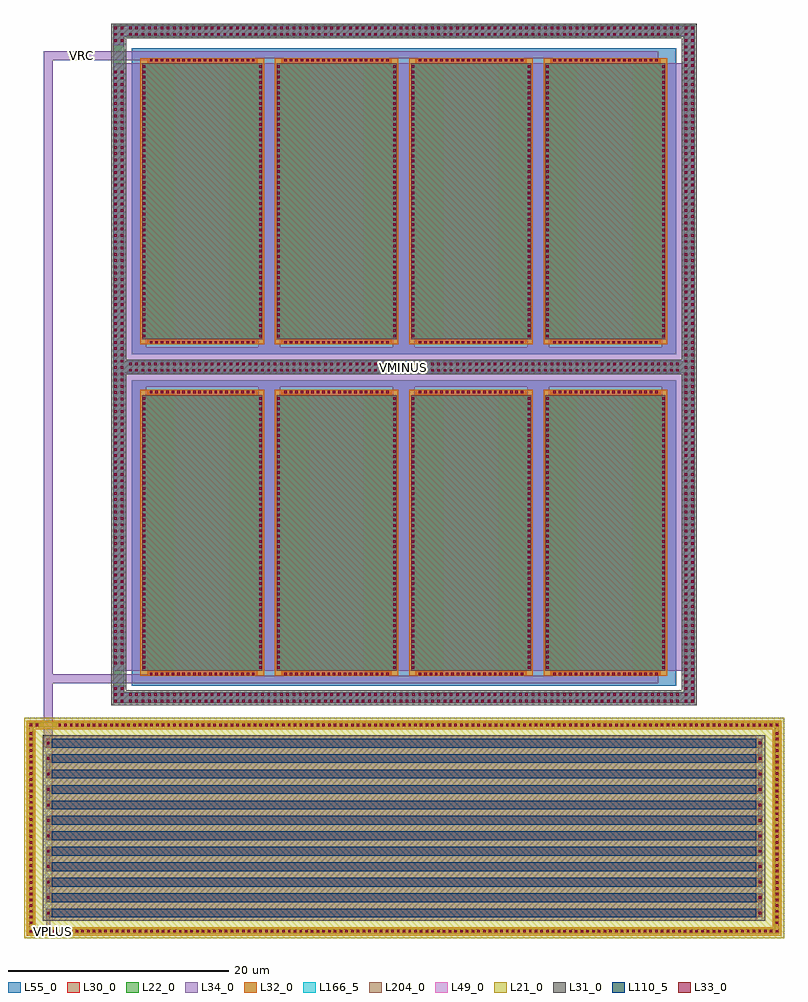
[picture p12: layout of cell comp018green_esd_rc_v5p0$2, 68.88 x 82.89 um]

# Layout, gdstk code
from math import pi, radians
import gdstk
lib = gdstk.Library(unit=1e-6, precision=1e-09)
def R(c, l, rs):  # rectangles x0, y0, x1, y1
    for r in rs: c.add(gdstk.rectangle(r[:2], r[2:], *l))
def A(c, l, x, y, w, h, nx, ny, dx, dy):  # array of equal rectangles
    R(c, l, [(x+i*dx, y+j*dy, x+i*dx+w, y+j*dy+h) for i in range(nx) for j in range(ny)])
def P(c, l, *ps):  # polygons
    for p in ps: c.add(gdstk.Polygon(p, *l))
L21_0 = (21, 0)
L22_0 = (22, 0)
L30_0 = (30, 0)
L31_0 = (31, 0)
L32_0 = (32, 0)
L33_0 = (33, 0)
L34_0 = (34, 0)
L49_0 = (49, 0)
L55_0 = (55, 0)
L110_5 = (110, 5)
L166_5 = (166, 5)
L204_0 = (204, 0)

m1_psub_cdns_40661953145 = lib.new_cell('M1_PSUB_CDNS_40661953145126$1')
R(m1_psub_cdns_40661953145, L22_0, [(-0.51,-30.72,0.51,30.72)])
R(m1_psub_cdns_40661953145, L31_0, [(-0.67,-30.88,0.67,30.88)])
A(m1_psub_cdns_40661953145, L33_0, -0.395, -30.605, 0.22, 0.22, 1, 108, 0, 0.57)
A(m1_psub_cdns_40661953145, L33_0, 0.175, -30.605, 0.22, 0.22, 1, 108, 0, 0.57)
R(m1_psub_cdns_40661953145, L34_0, [(-0.455,-30.665,0.455,30.665)])

m1_nwell_cdns_4066195314 = lib.new_cell('M1_NWELL_CDNS_40661953145127$2')
R(m1_nwell_cdns_4066195314, L21_0, [(-0.64,-34.44,0.64,34.44)])
R(m1_nwell_cdns_4066195314, L22_0, [(-0.225,-34.025,0.225,34.025)])
R(m1_nwell_cdns_4066195314, L32_0, [(-0.385,-34.185,0.385,34.185)])
A(m1_nwell_cdns_4066195314, L33_0, -0.11, -33.91, 0.22, 0.22, 1, 131, 0, 0.52)
R(m1_nwell_cdns_4066195314, L34_0, [(-0.17,-33.97,0.17,33.97)])

c_m1_nwell_cdns_4066195314 = lib.new_cell('M1_NWELL_CDNS_40661953145128$2')
R(c_m1_nwell_cdns_4066195314, L21_0, [(-0.64,-9.22,0.64,9.22)])
R(c_m1_nwell_cdns_4066195314, L22_0, [(-0.225,-8.805,0.225,8.805)])
R(c_m1_nwell_cdns_4066195314, L32_0, [(-0.385,-8.965,0.385,8.965)])
A(c_m1_nwell_cdns_4066195314, L33_0, -0.11, -8.69, 0.22, 0.22, 1, 34, 0, 0.52)
R(c_m1_nwell_cdns_4066195314, L34_0, [(-0.17,-8.75,0.17,8.75)])

c_m1_psub_cdns_40661953145 = lib.new_cell('M1_PSUB_CDNS_40661953145129$1')
R(c_m1_psub_cdns_40661953145, L22_0, [(-0.51,-25.02,0.51,25.02)])
R(c_m1_psub_cdns_40661953145, L31_0, [(-0.67,-25.18,0.67,25.18)])
A(c_m1_psub_cdns_40661953145, L33_0, -0.395, -24.905, 0.22, 0.22, 1, 88, 0, 0.57)
A(c_m1_psub_cdns_40661953145, L33_0, 0.175, -24.905, 0.22, 0.22, 1, 88, 0, 0.57)
R(c_m1_psub_cdns_40661953145, L34_0, [(-0.455,-24.965,0.455,24.965)])

ppolyf_u_cdns_4066195314 = lib.new_cell('ppolyf_u_CDNS_406619531453$2')
R(ppolyf_u_cdns_4066195314, L30_0, [(0,0,64.875,0.8)])
R(ppolyf_u_cdns_4066195314, L31_0, [(-0.3,-0.3,65.175,1.1)])
R(ppolyf_u_cdns_4066195314, L33_0, [(0.07,0.29,0.29,0.51), (64.585,0.29,64.805,0.51)])
R(ppolyf_u_cdns_4066195314, L34_0, [(0.01,0.01,0.35,0.79), (0.01,0.01,0.35,0.79), (64.525,0.01,64.865,0.79), (64.525,0.01,64.865,0.79)])
R(ppolyf_u_cdns_4066195314, L49_0, [(0.51,-0.28,64.365,1.08)])
R(ppolyf_u_cdns_4066195314, L110_5, [(0.51,0,64.365,0.8)])
ppolyf_u_cdns_4066195314.add(gdstk.Label('PLUS', (0.18,0.4), layer=34, texttype=0))
ppolyf_u_cdns_4066195314.add(gdstk.Label('MINUS', (64.695,0.4), layer=34, texttype=0))

nmoscap_6p0_cdns_4066195 = lib.new_cell('nmoscap_6p0_CDNS_406619531454$2')
R(nmoscap_6p0_cdns_4066195, L22_0, [(-0.44,0,10.44,25)])
R(nmoscap_6p0_cdns_4066195, L30_0, [(0,-0.46,10,25.46)])
R(nmoscap_6p0_cdns_4066195, L32_0, [(-0.6,-0.46,10.6,25.46)])
A(nmoscap_6p0_cdns_4066195, L33_0, 0.27, -0.39, 0.22, 0.22, 6, 2, 0.49, 25.56)
A(nmoscap_6p0_cdns_4066195, L33_0, 3.205, -0.39, 0.22, 0.22, 14, 2, 0.485, 25.56)
A(nmoscap_6p0_cdns_4066195, L33_0, -0.37, 0.19, 0.22, 0.22, 1, 36, 0, 0.48)
A(nmoscap_6p0_cdns_4066195, L33_0, 10.15, 0.19, 0.22, 0.22, 1, 36, 0, 0.48)
A(nmoscap_6p0_cdns_4066195, L33_0, -0.37, 17.465, 0.22, 0.22, 1, 16, 0, 0.475)
A(nmoscap_6p0_cdns_4066195, L33_0, 10.15, 17.465, 0.22, 0.22, 1, 16, 0, 0.475)
R(nmoscap_6p0_cdns_4066195, L34_0, [(-1.09,-1.75,-0.09,25), (-1.09,-1.75,11.09,-0.75), (10.09,-1.75,11.09,25), (0.21,-0.45,9.79,-0.11), (2.5,-0.17,7.5,25.17), (-0.43,0,-0.09,25), (10.09,0,10.43,25), (0.21,25.11,9.79,25.45)])
R(nmoscap_6p0_cdns_4066195, L55_0, [(-1.4,-1.36,11.4,26.36)])
R(nmoscap_6p0_cdns_4066195, L166_5, [(-0.44,0,10.44,25)])
R(nmoscap_6p0_cdns_4066195, L204_0, [(-0.44,0,10.44,25)])
nmoscap_6p0_cdns_4066195.add(gdstk.Label('G', (5,-0.28), layer=34, texttype=0))
nmoscap_6p0_cdns_4066195.add(gdstk.Label('G', (5,25.28), layer=34, texttype=0))
nmoscap_6p0_cdns_4066195.add(gdstk.Label('D', (-0.59,11.625), layer=34, texttype=0))
nmoscap_6p0_cdns_4066195.add(gdstk.Label('D', (10.59,11.625), layer=34, texttype=0))
nmoscap_6p0_cdns_4066195.add(gdstk.Label('D', (5,-1.25), layer=34, texttype=0))

comp018green_esd_rc_v5p0 = lib.new_cell('comp018green_esd_rc_v5p0$2')
R(comp018green_esd_rc_v5p0, L21_0, [(-0.255,2.455,68.625,22.435), (-0.255,21.155,68.625,22.435)])
R(comp018green_esd_rc_v5p0, L22_0, [(0.16,3.32,0.61,21.57), (67.76,3.32,68.21,21.57), (0.16,21.57,68.21,22.02), (7.825,23.75,8.845,85.19), (8.845,23.75,59.78,24.77), (8.845,53.715,9.165,54.735), (59.205,53.715,59.525,54.735), (8.845,84.17,59.78,85.19)])
R(comp018green_esd_rc_v5p0, L31_0, [(7.665,23.59,9.005,85.35)])
R(comp018green_esd_rc_v5p0, L32_0, [(0,21.41,68.37,22.18)])
A(comp018green_esd_rc_v5p0, L33_0, 2.875, 21.685, 0.22, 0.22, 126, 1, 0.52, 0)
A(comp018green_esd_rc_v5p0, L33_0, 7.94, 23.865, 0.22, 0.22, 1, 3, 0, 0.57)
A(comp018green_esd_rc_v5p0, L33_0, 8.51, 23.865, 0.22, 0.22, 1, 3, 0, 0.57)
A(comp018green_esd_rc_v5p0, L33_0, 7.94, 27.285, 0.22, 0.22, 1, 95, 0, 0.57)
A(comp018green_esd_rc_v5p0, L33_0, 8.51, 27.285, 0.22, 0.22, 1, 95, 0, 0.57)
A(comp018green_esd_rc_v5p0, L33_0, 7.94, 83.715, 0.22, 0.22, 1, 3, 0, 0.57)
A(comp018green_esd_rc_v5p0, L33_0, 8.51, 83.715, 0.22, 0.22, 1, 3, 0, 0.57)
R(comp018green_esd_rc_v5p0, L33_0, [(0.275,21.685,0.495,21.905), (0.795,21.685,1.015,21.905)])
A(comp018green_esd_rc_v5p0, L34_0, 66.29, 13.525, 0.34, 0.675, 1, 3, 0, 2.79)
R(comp018green_esd_rc_v5p0, L34_0, [(0.215,2.905,68.155,3.285), (1.775,2.925,2.115,5.135), (0.215,3.265,0.555,21.655), (67.815,3.265,68.155,21.655), (66.29,5.135,66.63,5.81), (1.775,6.535,2.115,7.275), (66.29,7.905,66.63,8.58), (1.775,9.28,2.115,10.02), (66.29,10.705,66.63,11.38), (1.775,12.075,2.115,12.815), (1.775,14.875,2.115,15.615), (1.775,17.67,2.115,18.41), (1.53,19.755,2.33,82.865), (2.7,21.605,68.155,21.985), (0.215,21.625,1.165,21.965), (7.88,23.8,60.49,24.72), (7.88,23.805,8.79,25.335), (1.775,25.585,11.11,26.395), (7.88,26.695,8.79,81.755), (8.79,26.695,9.81,81.755), (58.53,26.695,59.58,81.755), (9.81,52.445,58.53,56.005), (1.775,82.055,11.11,82.865), (7.88,83.405,8.79,85.135), (7.88,84.22,60.49,85.14)])
P(comp018green_esd_rc_v5p0, L34_0, [(11.11,81.865),(11.11,82.865),(57.23,82.865),(57.23,81.865),(47.65,81.865),(47.65,82.205),(45.05,82.205),(45.05,81.865),(35.47,81.865),(35.47,82.205),(32.87,82.205),(32.87,81.865),(23.29,81.865),(23.29,82.205),(20.69,82.205),(20.69,81.865)],
  [(11.11,25.585),(11.11,26.585),(20.69,26.585),(20.69,26.245),(23.29,26.245),(23.29,26.585),(32.87,26.585),(32.87,26.245),(35.47,26.245),(35.47,26.585),(45.05,26.585),(45.05,26.245),(47.65,26.245),(47.65,26.585),(57.23,26.585),(57.23,25.585)])
R(comp018green_esd_rc_v5p0, L49_0, [(2.275,5.425,66.13,20.825)])
comp018green_esd_rc_v5p0.add(gdstk.Reference(m1_psub_cdns_40661953145, (60.035,54.47)))
comp018green_esd_rc_v5p0.add(gdstk.Reference(m1_nwell_cdns_4066195314, (34.185,3.095), rotation=3*pi/2, x_reflection=True))
comp018green_esd_rc_v5p0.add(gdstk.Reference(c_m1_nwell_cdns_4066195314, (67.985,12.445), x_reflection=True))
comp018green_esd_rc_v5p0.add(gdstk.Reference(c_m1_nwell_cdns_4066195314, (0.385,12.445), x_reflection=True))
comp018green_esd_rc_v5p0.add(gdstk.Reference(c_m1_psub_cdns_40661953145, (34.185,84.68), rotation=pi/2))
comp018green_esd_rc_v5p0.add(gdstk.Reference(c_m1_psub_cdns_40661953145, (34.185,24.26), rotation=pi/2))
comp018green_esd_rc_v5p0.add(gdstk.Reference(c_m1_psub_cdns_40661953145, (34.185,54.225), rotation=pi/2))
comp018green_esd_rc_v5p0.add(gdstk.Reference(ppolyf_u_cdns_4066195314, (1.765,7.145)))
comp018green_esd_rc_v5p0.add(gdstk.Reference(ppolyf_u_cdns_4066195314, (1.765,15.545)))
comp018green_esd_rc_v5p0.add(gdstk.Reference(ppolyf_u_cdns_4066195314, (1.765,9.945)))
comp018green_esd_rc_v5p0.add(gdstk.Reference(ppolyf_u_cdns_4066195314, (1.765,18.345)))
comp018green_esd_rc_v5p0.add(gdstk.Reference(ppolyf_u_cdns_4066195314, (1.765,12.745)))
comp018green_esd_rc_v5p0.add(gdstk.Reference(ppolyf_u_cdns_4066195314, (1.765,5.145), x_reflection=True))
comp018green_esd_rc_v5p0.add(gdstk.Reference(ppolyf_u_cdns_4066195314, (66.64,11.345), rotation=pi, x_reflection=True))
comp018green_esd_rc_v5p0.add(gdstk.Reference(ppolyf_u_cdns_4066195314, (66.64,8.545), rotation=pi, x_reflection=True))
comp018green_esd_rc_v5p0.add(gdstk.Reference(ppolyf_u_cdns_4066195314, (66.64,14.145), rotation=pi, x_reflection=True))
comp018green_esd_rc_v5p0.add(gdstk.Reference(ppolyf_u_cdns_4066195314, (66.64,5.745), rotation=pi, x_reflection=True))
comp018green_esd_rc_v5p0.add(gdstk.Reference(ppolyf_u_cdns_4066195314, (66.64,16.945), rotation=pi, x_reflection=True))
comp018green_esd_rc_v5p0.add(gdstk.Reference(ppolyf_u_cdns_4066195314, (66.64,19.745), rotation=pi, x_reflection=True))
comp018green_esd_rc_v5p0.add(gdstk.Reference(nmoscap_6p0_cdns_4066195, (23.08,56.755)))
comp018green_esd_rc_v5p0.add(gdstk.Reference(nmoscap_6p0_cdns_4066195, (10.9,56.755)))
comp018green_esd_rc_v5p0.add(gdstk.Reference(nmoscap_6p0_cdns_4066195, (47.44,56.755)))
comp018green_esd_rc_v5p0.add(gdstk.Reference(nmoscap_6p0_cdns_4066195, (35.26,56.755)))
comp018green_esd_rc_v5p0.add(gdstk.Reference(nmoscap_6p0_cdns_4066195, (10.9,51.695), x_reflection=True))
comp018green_esd_rc_v5p0.add(gdstk.Reference(nmoscap_6p0_cdns_4066195, (23.08,51.695), x_reflection=True))
comp018green_esd_rc_v5p0.add(gdstk.Reference(nmoscap_6p0_cdns_4066195, (35.26,51.695), x_reflection=True))
comp018green_esd_rc_v5p0.add(gdstk.Reference(nmoscap_6p0_cdns_4066195, (47.44,51.695), x_reflection=True))
comp018green_esd_rc_v5p0.add(gdstk.Label('VRC', (4.92,82.465), layer=34, texttype=10))
comp018green_esd_rc_v5p0.add(gdstk.Label('VPLUS', (2.375,3.095), layer=34, texttype=10))
comp018green_esd_rc_v5p0.add(gdstk.Label('VMINUS', (34.175,54.22), layer=34, texttype=10))

lib.write_gds('comp018green_esd_rc_v5p0_2.gds')
